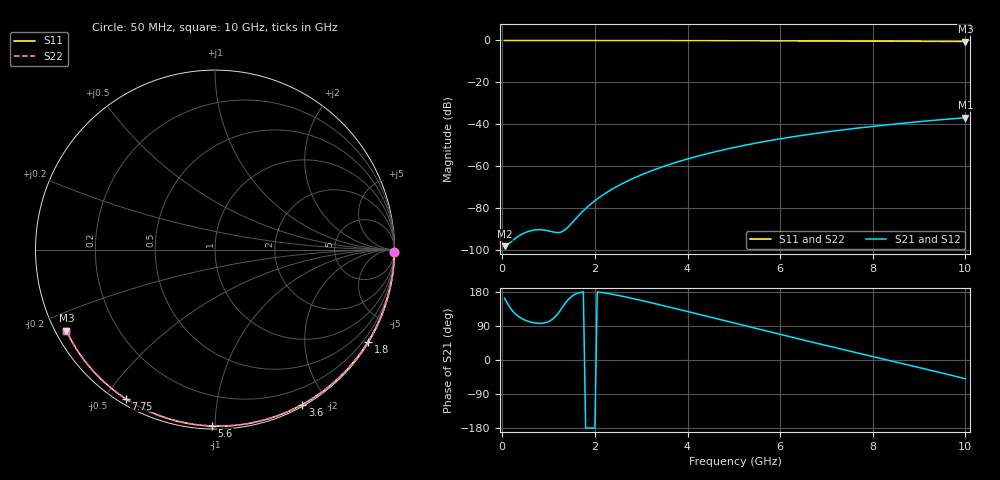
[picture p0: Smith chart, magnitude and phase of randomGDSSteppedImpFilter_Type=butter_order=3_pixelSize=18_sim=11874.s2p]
! freq	dB(S11)	phase(S11)	dB(S12)	phase(S12)
!  dB(S21)	phase(S21)	dB(S22)	phase(S22)
!S-par simulation data
#  GHz  S  DB  R 50
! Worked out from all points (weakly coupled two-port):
!   200 points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, 50 MHz to 10 GHz, reference 50 ohm
!   highest |S21| = -36.81 dB at 10 GHz (marker M1); lowest = -98.0 dB at 50 MHz (marker M2)
!   lowest |S11| = -0.5 dB at 10 GHz (marker M3), VSWR 34.26, Z = 1.55 - j12.7 ohm
!   |S11| at or under -10 dB: nowhere
!   |S22| runs from -0.5 to 0.0 dB; largest |S21 - S12| = 0
!   S11 on the Smith chart (normalised r, x): 50 MHz: open; 1.8 GHz: 0.03, -3.59; 3.6 GHz: 0.02, -1.71; 5.6 GHz: 0.02, -0.98; 7.75 GHz: 0.02, -0.57; 10 GHz: 0.03, -0.25
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0.05  -0.00 -0.9  -97.96 162.6  -97.96 162.6  -0.00 -0.9
0.45  -0.01 -7.9  -91.96 107.7  -91.96 107.7  -0.01 -7.9
0.9  -0.02 -15.7  -90.26 97.7  -90.26 97.7  -0.02 -15.7
1.75  -0.04 -30.3  -81.08 179.9  -81.08 179.9  -0.04 -30.3
1.8  -0.04 -31.1  -80.03 -179.5  -80.03 -179.5  -0.04 -31.1
1.95  -0.04 -33.6  -77.18 -179.5  -77.18 -179.5  -0.04 -33.6
2.1  -0.05 -36.1  -74.67 178.8  -74.67 178.8  -0.05 -36.2
2.25  -0.05 -38.7  -72.45 176.2  -72.45 176.2  -0.05 -38.7
2.45  -0.05 -42.0  -69.83 171.8  -69.83 171.8  -0.05 -42.0
2.65  -0.06 -45.3  -67.51 166.8  -67.51 166.8  -0.06 -45.3
2.9  -0.06 -49.4  -64.95 160.0  -64.95 160.0  -0.06 -49.4
3.4  -0.08 -57.4  -60.63 145.7  -60.63 145.7  -0.08 -57.4
3.6  -0.08 -60.6  -59.13 139.8  -59.13 139.8  -0.08 -60.6
4.3  -0.10 -71.5  -54.63 118.9  -54.63 118.9  -0.10 -71.5
5.05  -0.13 -82.8  -50.75 96.3  -50.75 96.3  -0.13 -82.8
5.6  -0.15 -90.9  -48.37 79.6  -48.37 79.6  -0.15 -90.9
6.15  -0.18 -98.8  -46.30 63.1  -46.30 63.1  -0.18 -98.8
6.7  -0.21 -106.5  -44.48 46.8  -44.48 46.8  -0.21 -106.6
7.75  -0.28 -121.0  -41.54 16.3  -41.54 16.3  -0.28 -121.0
8.35  -0.33 -129.1  -40.09 -1.0  -40.09 -1.0  -0.33 -129.1
9.2  -0.41 -140.5  -38.26 -25.6  -38.26 -25.6  -0.41 -140.6
10  -0.51 -151.4  -36.81 -49.5  -36.81 -49.5  -0.51 -151.4
